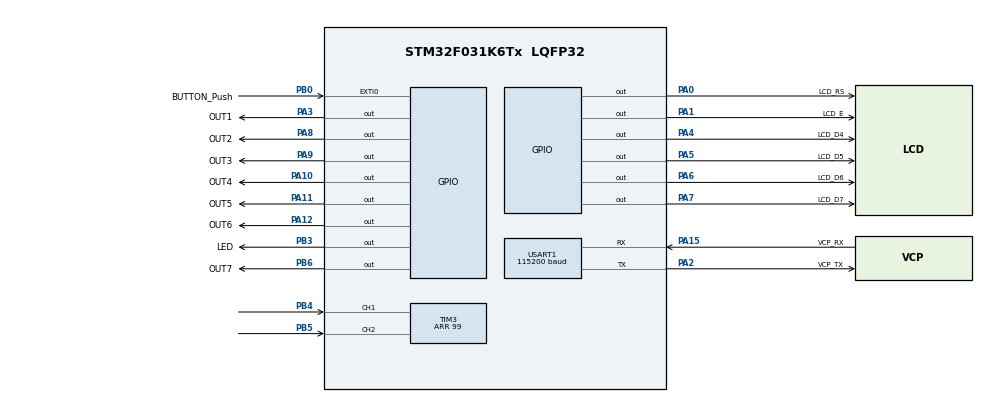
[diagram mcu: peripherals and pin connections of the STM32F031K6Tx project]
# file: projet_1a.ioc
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Mcu.Family=STM32F0
Mcu.Name=STM32F031K6Tx
Mcu.Package=LQFP32
NVIC.EXTI0_1_IRQn=true\:0\:0\:false\:false\:true\:true\:true\:true
NVIC.TIM3_IRQn=true\:0\:0\:false\:false\:true\:true\:true\:true
NVIC.USART1_IRQn=true\:0\:0\:false\:false\:true\:true\:true\:true
PA0.GPIO_Label=LCD_RS
PA0.Signal=GPIO_Output
PA1.GPIO_Label=LCD_E
PA1.Signal=GPIO_Output
PA10.GPIO_Label=OUT4
PA10.Signal=GPIO_Output
PA11.GPIO_Label=OUT5
PA11.Signal=GPIO_Output
PA12.GPIO_Label=OUT6
PA12.Signal=GPIO_Output
PA13.GPIO_Label=SWDIO
PA13.Mode=Serial_Wire
PA13.Signal=SYS_SWDIO
PA14.GPIO_Label=SWCLK
PA14.Mode=Serial_Wire
PA14.Signal=SYS_SWCLK
PA15.GPIO_Label=VCP_RX
PA15.GPIO_PuPd=GPIO_PULLUP
PA15.Mode=Asynchronous
PA15.Signal=USART1_RX
PA2.GPIO_Label=VCP_TX
PA2.Mode=Asynchronous
PA2.Signal=USART1_TX
PA3.GPIO_Label=OUT1
PA3.Signal=GPIO_Output
PA4.GPIO_Label=LCD_D4
PA4.Signal=GPIO_Output
PA5.GPIO_Label=LCD_D5
PA5.Signal=GPIO_Output
PA6.GPIO_Label=LCD_D6
PA6.Signal=GPIO_Output
PA7.GPIO_Label=LCD_D7
PA7.Signal=GPIO_Output
PA8.GPIO_Label=OUT2
PA8.Signal=GPIO_Output
PA9.GPIO_Label=OUT3
PA9.Signal=GPIO_Output
PB0.GPIO_Label=BUTTON_Push
PB0.GPIO_PuPd=GPIO_PULLDOWN
PB0.Signal=GPXTI0
PB3.GPIO_Label=LED
PB3.PinState=GPIO_PIN_SET
PB3.Signal=GPIO_Output
PB4.Signal=S_TIM3_CH1
PB5.Signal=S_TIM3_CH2
PB6.GPIO_Label=OUT7
PB6.Signal=GPIO_Output
PF0-OSC_IN.Mode=HSE-External-Clock-Source
PF0-OSC_IN.Signal=RCC_OSC_IN
ProjectManager.HeapSize=0x200
ProjectManager.StackSize=0x400
ProjectManager.TargetToolchain=STM32CubeIDE
SH.S_TIM3_CH1.0=TIM3_CH1,Encoder_Interface
SH.S_TIM3_CH2.0=TIM3_CH2,Encoder_Interface
TIM3.Period=99
USART1.BaudRate=115200
USART1.VirtualMode-Asynchronous=VM_ASYNC
board=NUCLEO-F031K6

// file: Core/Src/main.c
/* USER CODE BEGIN Header */
/**
  ******************************************************************************
  * @file           : main.c
  * @brief          : Main program body
  ******************************************************************************
  * @attention
  *
  * Copyright (c) 2025 STMicroelectronics.
  * All rights reserved.
  *
  * This software is licensed under terms that can be found in the LICENSE file
  * in the root directory of this software component.
  * If no LICENSE file comes with this software, it is provided AS-IS.
  *
  ******************************************************************************
  */
/* USER CODE END Header */
#include "main.h"

/* USER CODE BEGIN Includes */
#include "lcd16x2.h"
#include "midi_data_process.h"
/* USER CODE END Includes */

/* USER CODE BEGIN PD */
#define STATE_PLAY	 1
#define STATE_SELECT 2
#define STATE_WAIT_FOR_DATA 3
/* USER CODE END PD */

TIM_HandleTypeDef htim3;

UART_HandleTypeDef huart1;

/* USER CODE BEGIN PV */
unsigned int counter = 0;
unsigned int current_state = STATE_SELECT;
unsigned int previous_state = STATE_SELECT;
uint8_t rx_buffer[32];
int previous_count;
int data_size_received;
int has_finished_playing = 0;
int is_waiting_for_data = 0;
uint8_t size = 0;
volatile unsigned int LCD_Update_Required;
/* USER CODE END PV */

void SystemClock_Config(void);
static void MX_GPIO_Init(void);
static void MX_TIM3_Init(void);
static void MX_USART1_UART_Init(void);

/* USER CODE BEGIN 0 */

/**
 * @brief Initialise l'affichage LCD avec les informations de séquence.
 *
 * Cette fonction efface l'écran du LCD, place le curseur à la première ligne,
 * affiche le numéro de séquence courant, puis place le curseur à la deuxième ligne
 * pour afficher la séquence des chiffres de 1 à 8.
 *
 * @note La variable globale 'counter' doit être définie et initialisée avant l'appel.
 * @note La sélection des séquences courantes via le codeur rotatif n'est pas utile dans cette implémentation, mais est fonctionnelle.
 */
void LCD_init() {
	lcd16x2_clear();
	lcd16x2_setCursor(0, 0);
	lcd16x2_printf("Sequence: %d", counter);
	lcd16x2_setCursor(1, 0);
	lcd16x2_printf("1 2 3 4 5 6 7 8");
}

/**
 * @brief Met à jour l'affichage de l'écran LCD en fonction de l'état courant du système.
 *
 * Cette fonction gère l'affichage sur un écran LCD 16x2 selon l'état de l'application :
 * - Affiche la valeur du compteur à la position (0, 10).
 * - Si l'état courant est STATE_SELECT, initialise l'écran LCD si nécessaire et positionne le curseur.
 * - Si l'état courant est STATE_PLAY, efface l'écran et affiche "Lecture sequence".
 * - Si l'état courant est STATE_WAIT_FOR_DATA, efface l'écran et affiche "Attente donnees".
 *
 * @note Cette fonction utilise les variables globales `counter`, `current_state` et `previous_state`.
 */
void LCD_draw() {
	lcd16x2_setCursor(0, 10);
	lcd16x2_printf("%d", counter+1);
	if(current_state == STATE_SELECT){
		if(previous_state != STATE_SELECT) {
			LCD_init();
			previous_state = STATE_SELECT;
		}
		lcd16x2_setCursor(1, counter*2);
	} else if(current_state == STATE_PLAY) {
		lcd16x2_clear();
		lcd16x2_printf("Lecture sequence");
	} else if(current_state == STATE_WAIT_FOR_DATA) {
		lcd16x2_clear();
		lcd16x2_printf("Attente donnees");
	}
}

/**
 * @brief Met à jour la valeur du compteur en fonction de l'état de l'encodeur.
 *
 * Cette fonction compare la valeur actuelle de l'encodeur (count) à la valeur précédente (previous_count)
 * pour déterminer le sens de rotation :
 *   - Si la différence est positive, l'encodeur tourne dans le sens horaire et le compteur est incrémenté.
 *   - Si la différence est négative, l'encodeur tourne dans le sens antihoraire et le compteur est décrémenté.
 * La variable previous_count est ensuite mise à jour avec la nouvelle valeur.
 * Un drapeau (LCD_Update_Required) est activé pour indiquer qu'une mise à jour de l'affichage est nécessaire.
 * Enfin, la valeur du compteur est bornée entre 0 et 8 (inclus) pour éviter les débordements.
 *
 * @param count Valeur actuelle lue de l'encodeur.
 */
void encoder_update(int count) {
	if(count - previous_count > 0) { // Clockwise
		counter++;
		previous_count = count;
		LCD_Update_Required = 1;
	} else if(count - previous_count < 0){ // Counter clockwise
		counter--;
		previous_count = count;
		LCD_Update_Required = 1;
	}
	// Clamp
	if(counter < 0) {
		counter = 8;
	} else if(counter > 8) {
		counter = 0;
	}
}

/**
 * @brief  Callback appelée lors d'une interruption externe sur une broche GPIO.
 *
 * Cette fonction gère les actions à effectuer lorsqu'un événement d'interruption
 * est détecté sur une broche GPIO spécifique (par exemple, un bouton poussoir).
 * - Si l'interruption provient du bouton poussoir et que l'état courant est STATE_PLAY,
 *   la variable has_finished_playing est mise à 1 pour indiquer la fin de la lecture.
 * - Sinon, l'état courant passe à STATE_WAIT_FOR_DATA, la taille des données reçues
 *   est réinitialisée, le système passe en attente de données, et une mise à jour
 *   de l'affichage LCD est demandée.
 * - Pour toute autre broche, la mise à jour de l'affichage LCD est désactivée.
 *
 * @param  GPIO_Pin  Broche GPIO ayant déclenché l'interruption.
 */
void HAL_GPIO_EXTI_Callback(uint16_t GPIO_Pin) {
	switch(GPIO_Pin) {
		case BUTTON_Push_Pin:
			if(current_state == STATE_PLAY) {
				has_finished_playing = 1;
			} else {
				current_state = STATE_WAIT_FOR_DATA;
				data_size_received = 0;
				is_waiting_for_data = 1;
				LCD_Update_Required = 1;
			}
			break;
		default:
			LCD_Update_Required = 0;
			break;
	}
}

/* USER CODE END 0 */

int main(void)
{

  /* MCU Configuration--------------------------------------------------------*/

  /* Reset of all peripherals, Initializes the Flash interface and the Systick. */
  HAL_Init();

  /* Configure the system clock */
  SystemClock_Config();

  /* Initialize all configured peripherals */
  MX_GPIO_Init();
  MX_TIM3_Init();
  MX_USART1_UART_Init();
  /* USER CODE BEGIN 2 */
  lcd16x2_init_4bits(LCD_RS_GPIO_Port, LCD_RS_Pin, LCD_E_Pin,
  LCD_D4_GPIO_Port, LCD_D4_Pin, LCD_D5_Pin, LCD_D6_Pin, LCD_D7_Pin);
  lcd16x2_cursorShow(1);
  lcd16x2_clear();
  LCD_init();
  HAL_TIM_Encoder_Start(&htim3, TIM_CHANNEL_ALL);
  /* USER CODE END 2 */

  /* Infinite loop */
  while (1)
  {

    /* USER CODE BEGIN 3 */

	/*
	HAL_GPIO_TogglePin(GPIOA, OUT1_Pin);
	HAL_GPIO_TogglePin(GPIOA, OUT2_Pin);
	HAL_Delay(300);
	*/

  // Met à jour la valeur du compteur selon l'encodeur rotatif
  encoder_update((TIM3->CNT)>>2);

  // Rafraîchit l'affichage LCD si nécessaire
  if(LCD_Update_Required) {
    LCD_draw();
    LCD_Update_Required = 0;
  }

  // Gestion de l'état de lecture de séquence
  if(current_state == STATE_PLAY) {
    // Si la lecture est terminée, envoie un message à l'UART et repasse en mode sélection
    if(has_finished_playing) {
      uint8_t msg[] = "STM - Lecture finie.";
      HAL_UART_Transmit(&huart1, msg, sizeof(msg), 1000);
      previous_state = current_state;
      current_state = STATE_SELECT;
      has_finished_playing = 0;
      LCD_Update_Required = 1;
    }
    // Réception des données à traiter via UART
    HAL_UART_Receive(&huart1, rx_buffer, size, 50);
    // Traite les données reçues, met à jour l'état de lecture
    has_finished_playing = process_data(rx_buffer, size);
    // Attend la taille du prochain paquet de données
    while(HAL_UART_Receive(&huart1, &size, 1, 1000) != HAL_OK)
      HAL_Delay(1);
    HAL_GPIO_TogglePin(GPIOB, LED_Pin);

  // Gestion de l'état d'attente de données
  } else if(current_state == STATE_WAIT_FOR_DATA) {
    // Si plus en attente, passe à l'état de lecture
    if(!is_waiting_for_data) {
      previous_state = current_state;
      current_state = STATE_PLAY;
      LCD_Update_Required = 1;
    }
    // Attend la réception de la taille des données via UART
    if(HAL_UART_Receive(&huart1, &size, 1, 1000) == HAL_OK) {
      is_waiting_for_data = 0;
    }
    HAL_GPIO_TogglePin(GPIOB, LED_Pin);
  }
  }
  /* USER CODE END 3 */
}

void SystemClock_Config(void)
{
  RCC_OscInitTypeDef RCC_OscInitStruct = {0};
  RCC_ClkInitTypeDef RCC_ClkInitStruct = {0};
  RCC_PeriphCLKInitTypeDef PeriphClkInit = {0};

  /** Initializes the RCC Oscillators according to the specified parameters
  * in the RCC_OscInitTypeDef structure.
  */
  RCC_OscInitStruct.OscillatorType = RCC_OSCILLATORTYPE_HSI;
  RCC_OscInitStruct.HSIState = RCC_HSI_ON;
  RCC_OscInitStruct.HSICalibrationValue = RCC_HSICALIBRATION_DEFAULT;
  RCC_OscInitStruct.PLL.PLLState = RCC_PLL_NONE;
  if (HAL_RCC_OscConfig(&RCC_OscInitStruct) != HAL_OK)
  {
    Error_Handler();
  }

  /** Initializes the CPU, AHB and APB buses clocks
  */
  RCC_ClkInitStruct.ClockType = RCC_CLOCKTYPE_HCLK|RCC_CLOCKTYPE_SYSCLK
                              |RCC_CLOCKTYPE_PCLK1;
  RCC_ClkInitStruct.SYSCLKSource = RCC_SYSCLKSOURCE_HSI;
  RCC_ClkInitStruct.AHBCLKDivider = RCC_SYSCLK_DIV1;
  RCC_ClkInitStruct.APB1CLKDivider = RCC_HCLK_DIV1;

  if (HAL_RCC_ClockConfig(&RCC_ClkInitStruct, FLASH_LATENCY_0) != HAL_OK)
  {
    Error_Handler();
  }
  PeriphClkInit.PeriphClockSelection = RCC_PERIPHCLK_USART1;
  PeriphClkInit.Usart1ClockSelection = RCC_USART1CLKSOURCE_PCLK1;
  if (HAL_RCCEx_PeriphCLKConfig(&PeriphClkInit) != HAL_OK)
  {
    Error_Handler();
  }
}

static void MX_TIM3_Init(void)
{

  TIM_Encoder_InitTypeDef sConfig = {0};
  TIM_MasterConfigTypeDef sMasterConfig = {0};

  htim3.Instance = TIM3;
  htim3.Init.Prescaler = 0;
  htim3.Init.CounterMode = TIM_COUNTERMODE_UP;
  htim3.Init.Period = 99;
  htim3.Init.ClockDivision = TIM_CLOCKDIVISION_DIV1;
  htim3.Init.AutoReloadPreload = TIM_AUTORELOAD_PRELOAD_DISABLE;
  sConfig.EncoderMode = TIM_ENCODERMODE_TI1;
  sConfig.IC1Polarity = TIM_ICPOLARITY_RISING;
  sConfig.IC1Selection = TIM_ICSELECTION_DIRECTTI;
  sConfig.IC1Prescaler = TIM_ICPSC_DIV1;
  sConfig.IC1Filter = 0;
  sConfig.IC2Polarity = TIM_ICPOLARITY_RISING;
  sConfig.IC2Selection = TIM_ICSELECTION_DIRECTTI;
  sConfig.IC2Prescaler = TIM_ICPSC_DIV1;
  sConfig.IC2Filter = 0;
  if (HAL_TIM_Encoder_Init(&htim3, &sConfig) != HAL_OK)
  {
    Error_Handler();
  }
  sMasterConfig.MasterOutputTrigger = TIM_TRGO_RESET;
  sMasterConfig.MasterSlaveMode = TIM_MASTERSLAVEMODE_DISABLE;
  if (HAL_TIMEx_MasterConfigSynchronization(&htim3, &sMasterConfig) != HAL_OK)
  {
    Error_Handler();
  }

}

static void MX_USART1_UART_Init(void)
{

  huart1.Instance = USART1;
  huart1.Init.BaudRate = 115200;
  huart1.Init.WordLength = UART_WORDLENGTH_8B;
  huart1.Init.StopBits = UART_STOPBITS_1;
  huart1.Init.Parity = UART_PARITY_NONE;
  huart1.Init.Mode = UART_MODE_TX_RX;
  huart1.Init.HwFlowCtl = UART_HWCONTROL_NONE;
  huart1.Init.OverSampling = UART_OVERSAMPLING_16;
  huart1.Init.OneBitSampling = UART_ONE_BIT_SAMPLE_DISABLE;
  huart1.AdvancedInit.AdvFeatureInit = UART_ADVFEATURE_NO_INIT;
  if (HAL_UART_Init(&huart1) != HAL_OK)
  {
    Error_Handler();
  }

}

static void MX_GPIO_Init(void)
{
  GPIO_InitTypeDef GPIO_InitStruct = {0};

  /* GPIO Ports Clock Enable */
  __HAL_RCC_GPIOF_CLK_ENABLE();
  __HAL_RCC_GPIOA_CLK_ENABLE();
  __HAL_RCC_GPIOB_CLK_ENABLE();

  /*Configure GPIO pin Output Level */
  HAL_GPIO_WritePin(GPIOA, LCD_RS_Pin|LCD_E_Pin|OUT1_Pin|LCD_D4_Pin
                          |LCD_D5_Pin|LCD_D6_Pin|LCD_D7_Pin|OUT2_Pin
                          |OUT3_Pin|OUT4_Pin|OUT5_Pin|OUT6_Pin, GPIO_PIN_RESET);

  /*Configure GPIO pin Output Level */
  HAL_GPIO_WritePin(LED_GPIO_Port, LED_Pin, GPIO_PIN_SET);

  /*Configure GPIO pin Output Level */
  HAL_GPIO_WritePin(OUT7_GPIO_Port, OUT7_Pin, GPIO_PIN_RESET);

  /*Configure GPIO pins : LCD_RS_Pin LCD_E_Pin OUT1_Pin LCD_D4_Pin
                           LCD_D5_Pin LCD_D6_Pin LCD_D7_Pin OUT2_Pin
                           OUT3_Pin OUT4_Pin OUT5_Pin OUT6_Pin */
  GPIO_InitStruct.Pin = LCD_RS_Pin|LCD_E_Pin|OUT1_Pin|LCD_D4_Pin
                          |LCD_D5_Pin|LCD_D6_Pin|LCD_D7_Pin|OUT2_Pin
                          |OUT3_Pin|OUT4_Pin|OUT5_Pin|OUT6_Pin;
  GPIO_InitStruct.Mode = GPIO_MODE_OUTPUT_PP;
  GPIO_InitStruct.Pull = GPIO_NOPULL;
  GPIO_InitStruct.Speed = GPIO_SPEED_FREQ_LOW;
  HAL_GPIO_Init(GPIOA, &GPIO_InitStruct);

  /*Configure GPIO pin : BUTTON_Push_Pin */
  GPIO_InitStruct.Pin = BUTTON_Push_Pin;
  GPIO_InitStruct.Mode = GPIO_MODE_IT_RISING;
  GPIO_InitStruct.Pull = GPIO_PULLDOWN;
  HAL_GPIO_Init(BUTTON_Push_GPIO_Port, &GPIO_InitStruct);

  /*Configure GPIO pins : LED_Pin OUT7_Pin */
  GPIO_InitStruct.Pin = LED_Pin|OUT7_Pin;
  GPIO_InitStruct.Mode = GPIO_MODE_OUTPUT_PP;
  GPIO_InitStruct.Pull = GPIO_NOPULL;
  GPIO_InitStruct.Speed = GPIO_SPEED_FREQ_LOW;
  HAL_GPIO_Init(GPIOB, &GPIO_InitStruct);

  /* EXTI interrupt init*/
  HAL_NVIC_SetPriority(EXTI0_1_IRQn, 0, 0);
  HAL_NVIC_EnableIRQ(EXTI0_1_IRQn);

}

void Error_Handler(void)
{
  __disable_irq();
  while (1)
  {
  }
}
